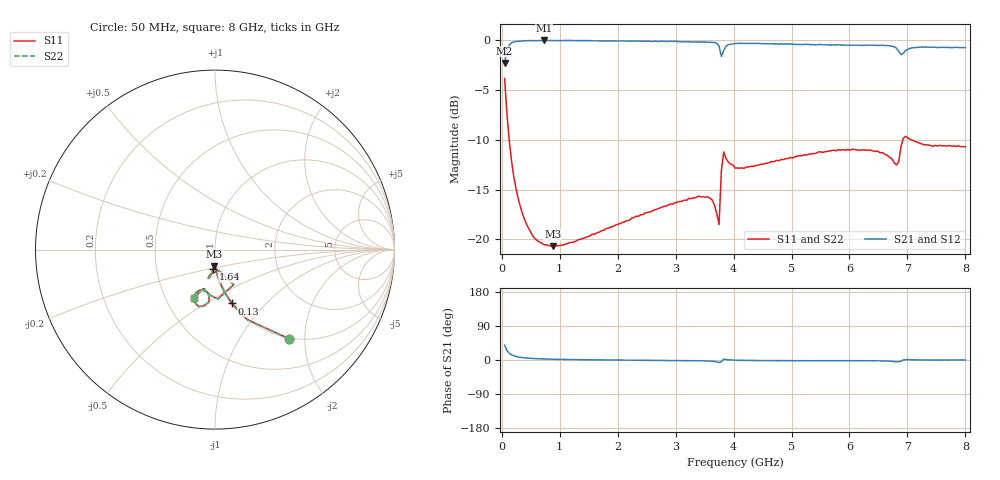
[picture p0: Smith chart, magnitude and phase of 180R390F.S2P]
!  American Technical Ceramics  Date:  3/13/98
!  One Norden Lane
!  Huntington Station,  NY.  11746-2102
!  Tel:  (516) 547-5700  Fax:  (516) 547-5748
!  Part Number  180r390f
!  Description: Porcelain, High Q, Low ESR
!  Application: Bypass, Coupling, Timing, Feedback
!  Tuning, Impedance Match, Blocking
# GHZ S DB R 50
! Freq  |S11|  S11 Ph  |S21|  S21 Ph  |S12|  S12 Ph  |S22|  S22 Ph
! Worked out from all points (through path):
!   201 points, 50 MHz to 8 GHz, reference 50 ohm
!   highest |S21| = -0.02 dB at 730 MHz (marker M1); lowest = -2.3 dB at 50 MHz (marker M2)
!   lowest |S11| = -20.7 dB at 880 MHz (marker M3), VSWR 1.20, Z = 48.9 - j9.11 ohm
!   |S11| at or under -10 dB: 129.1 MHz to 6.922 GHz (6.793 GHz wide, 193 % of centre); 7.068 GHz to end of sweep
!   |S22| runs from -20.7 to -3.8 dB; largest |S21 - S12| = 0
!   S11 on the Smith chart (normalised r, x): 50 MHz: 0.99, -1.67; 130 MHz: 0.99, -0.66; 1.64 GHz: 0.96, -0.21; 8 GHz: 0.70, -0.41
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0.05  -3.83 -50.4  -2.29 39.7  -2.29 39.7  -3.83 -50.4
0.09  -7.38 -65.5  -0.85 24.9  -0.85 24.9  -7.38 -65.5
0.13  -10.06 -72.7  -0.52 17.8  -0.52 17.8  -10.06 -72.7
0.21  -13.75 -80.1  -0.16 11.2  -0.16 11.2  -13.75 -80.1
0.37  -17.63 -86.0  -0.06 6.0  -0.06 6.0  -17.63 -86.0
0.73  -20.53 -90.7  -0.02 2.7  -0.02 2.7  -20.53 -90.7
0.88  -20.68 -91.9  -0.03 2.0  -0.03 2.0  -20.68 -91.9
1.4  -19.90 -94.1  -0.05 0.8  -0.05 0.8  -19.90 -94.1
1.64  -19.34 -95.0  -0.05 0.2  -0.05 0.2  -19.34 -95.0
2.71  -16.88 -99.2  -0.12 -1.0  -0.12 -1.0  -16.88 -99.2
3.55  -15.73 -102.7  -0.19 -2.6  -0.19 -2.6  -15.73 -102.7
3.67  -16.54 -102.0  -0.23 -3.8  -0.23 -3.8  -16.54 -102.0
3.75  -18.51 -79.1  -0.60 -6.9  -0.60 -6.9  -18.51 -79.1
3.79  -13.10 -61.9  -1.64 -4.6  -1.64 -4.6  -13.10 -61.9
3.83  -11.21 -86.6  -1.03 2.4  -1.03 2.4  -11.21 -86.6
4.03  -12.85 -104.5  -0.33 -0.4  -0.33 -0.4  -12.85 -104.5
5.38  -11.39 -111.9  -0.44 -2.1  -0.44 -2.1  -11.39 -111.9
6.69  -11.75 -113.6  -0.55 -3.1  -0.55 -3.1  -11.75 -113.6
6.81  -12.53 -106.5  -0.79 -4.8  -0.79 -4.8  -12.53 -106.5
6.89  -10.66 -96.2  -1.45 -2.9  -1.45 -2.9  -10.66 -96.2
6.97  -9.64 -105.9  -1.03 0.8  -1.03 0.8  -9.64 -105.9
8  -10.69 -113.0  -0.74 0.0  -0.74 0.0  -10.69 -113.0
